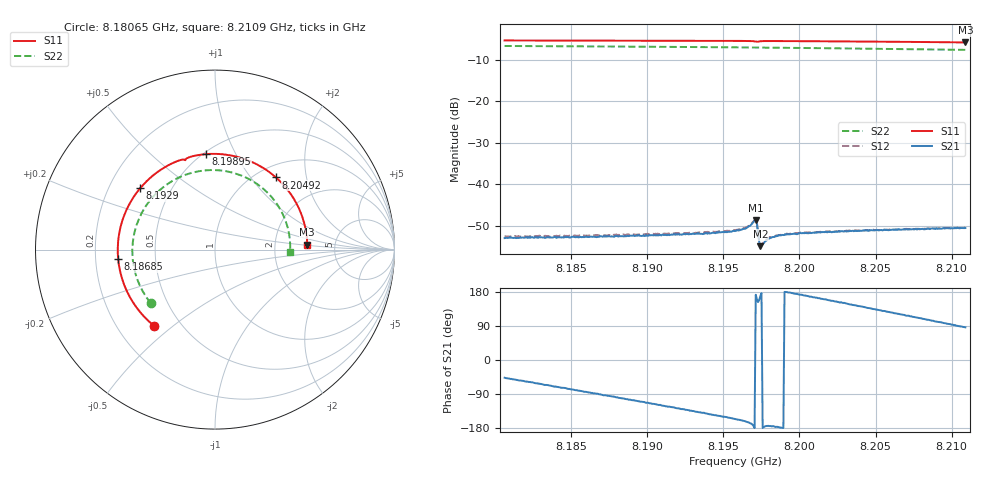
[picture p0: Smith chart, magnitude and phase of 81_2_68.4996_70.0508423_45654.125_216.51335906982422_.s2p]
#  HZ  S  RI  R  50.00
! Rohde & Schwarz Vector Network Analyzer
! Rohde-Schwarz,ZNB20-2Port,1311601062101988,3.16
! Created: UTC 3/20/2024, 5:07:18 PM
! freq[Hz]  re:S11  im:S11  re:S21  im:S21  re:S12  im:S12  re:S22  im:S22
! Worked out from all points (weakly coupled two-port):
!   401 points, 8.18065 GHz to 8.2109 GHz, reference 50 ohm
!   highest |S21| = -48.63 dB at 8.19713 GHz (marker M1); lowest = -55.0 dB at 8.19744 GHz (marker M2)
!   lowest |S11| = -5.8 dB at 8.2109 GHz (marker M3), VSWR 3.12, Z = 155 + j11.3 ohm
!   |S11| at or under -10 dB: nowhere
!   |S22| runs from -7.6 to -6.6 dB; largest |S21 - S12| = 0.00019
!   S11 on the Smith chart (normalised r, x): 8.18065 GHz: 0.36, -0.43; 8.18685 GHz: 0.30, -0.04; 8.1929 GHz: 0.33, +0.32; 8.19895 GHz: 0.52, +0.77; 8.20492 GHz: 1.21, +1.35; 8.2109 GHz: 3.10, +0.23
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8.180647e9  -0.3412 -0.4232  0.00153 -0.00163  0.00158 -0.00173  -0.3577 -0.2989
8.183369e9  -0.4644 -0.2814  0.000934 -0.00207  0.000933 -0.00218  -0.4322 -0.1672
8.185714e9  -0.5264 -0.1309  0.00031 -0.00227  0.000309 -0.00236  -0.4593 -0.0399
8.186848e9  -0.5395 -0.0531  -1.65e-05 -0.00231  -5.19e-05 -0.00238  -0.4593 0.0231
8.188814e9  -0.5349 0.0839  -0.000603 -0.00228  -0.000652 -0.00238  -0.4389 0.1303
8.190781e9  -0.4956 0.2156  -0.00117 -0.00211  -0.00126 -0.00216  -0.3937 0.2295
8.192898e9  -0.4175 0.3416  -0.00172 -0.00181  -0.00182 -0.0018  -0.3196 0.3211
8.195772e9  -0.2613 0.4691  -0.00248 -0.00112  -0.0026 -0.00103  -0.1855 0.4086
8.196528e9  -0.212 0.4922  -0.00283 -0.000851  -0.00291 -0.000811  -0.1455 0.4231
8.196982e9  -0.1787 0.5015  -0.00346 -0.000382  -0.00354 -0.000244  -0.1209 0.4302
8.197133e9  -0.1675 0.5  -0.00367 0.000503  -0.00372 0.00068  -0.1125 0.4318
8.197436e9  -0.1588 0.5073  -0.00175 0.000346  -0.00174 0.000462  -0.0961 0.4355
8.197511e9  -0.1535 0.5104  -0.00182 0.000113  -0.00184 0.000201  -0.0918 0.4363
8.197587e9  -0.148 0.513  -0.00189 -1.7e-05  -0.00191 3.6e-05  -0.0876 0.437
8.198116e9  -0.1098 0.5235  -0.00224 -0.000223  -0.00228 -0.000126  -0.0579 0.4411
8.198948e9  -0.0507 0.5317  -0.00243 -2.39e-05  -0.00246 8.99e-05  -0.0109 0.4433
8.200839e9  0.0824 0.5256  -0.00251 0.00062  -0.00251 0.000727  0.0957 0.4292
8.202805e9  0.2149 0.4839  -0.00237 0.00131  -0.00232 0.0014  0.1999 0.3872
8.204923e9  0.3398 0.4019  -0.00194 0.00199  -0.00187 0.00206  0.2973 0.3126
8.205906e9  0.3888 0.3523  -0.00166 0.00225  -0.0016 0.00235  0.3347 0.2688
8.208477e9  0.4816 0.1956  -0.000804 0.0028  -0.000706 0.00282  0.4023 0.1328
8.210897e9  0.5142 0.0267  0.000198 0.00295  0.000265 0.00299  0.4185 -0.0119
